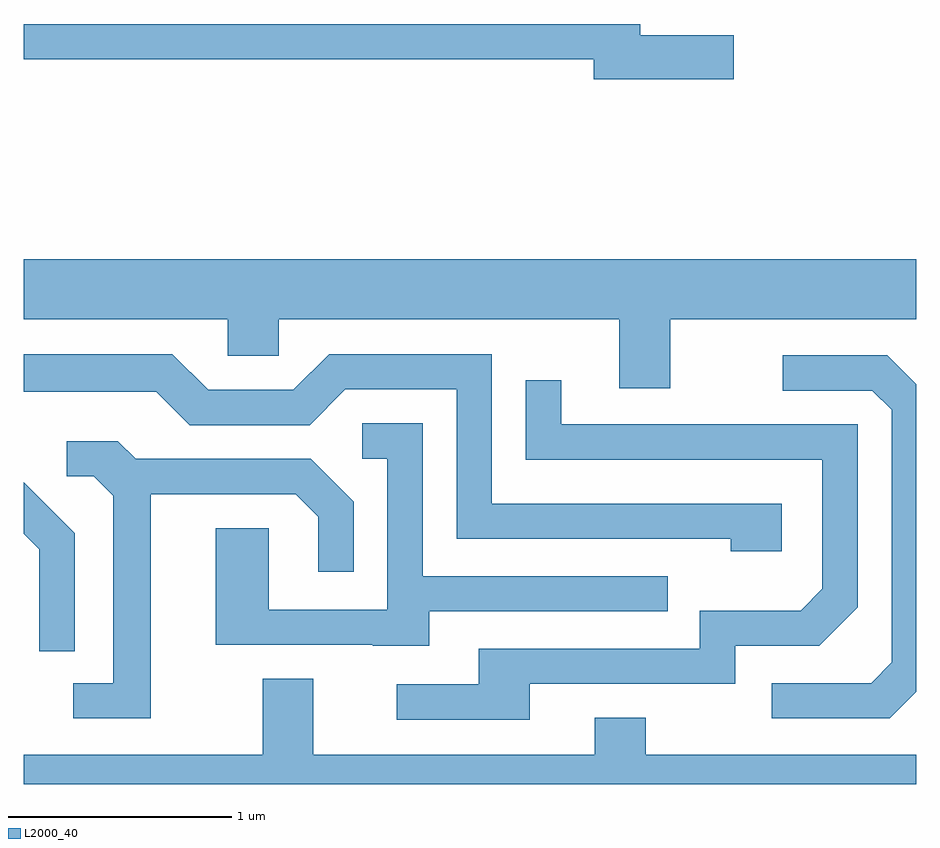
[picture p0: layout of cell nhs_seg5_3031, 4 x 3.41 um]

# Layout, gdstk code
import gdstk
lib = gdstk.Library(unit=1e-6, precision=1e-09)
def P(c, l, *ps):  # polygons
    for p in ps: c.add(gdstk.Polygon(p, *l))
L2000_40 = (2000, 40)

nhs_seg5_3031 = lib.new_cell('nhs_seg5_3031')
P(nhs_seg5_3031, L2000_40, [(278.794,1431.429),(278.374,1431.429),(278.374,1431.479),(275.611,1431.479),(275.611,1431.321),(278.166,1431.321),(278.166,1431.231),(278.794,1431.231)],
  [(278.509,1430.156),(279.611,1430.156),(279.611,1430.424),(275.611,1430.424),(275.611,1430.156),(276.526,1430.156),(276.526,1429.991),(276.754,1429.991),(276.754,1430.156),(278.281,1430.156),(278.281,1429.846),(278.509,1429.846)],
  [(279.009,1429.329),(277.709,1429.329),(277.709,1429.999),(276.979,1429.999),(276.819,1429.839),(276.437,1429.839),(276.277,1429.999),(275.611,1429.999),(275.611,1429.831),(276.204,1429.831),(276.354,1429.681),(276.892,1429.681),(277.052,1429.841),(277.551,1429.841),(277.551,1429.171),(278.781,1429.171),(278.781,1429.116),(279.009,1429.116)],
  [(279.611,1428.486),(279.611,1429.865),(279.482,1429.994),(279.013,1429.994),(279.013,1429.836),(279.414,1429.836),(279.501,1429.749),(279.501,1428.617),(279.409,1428.524),(278.963,1428.524),(278.963,1428.366),(279.492,1428.366)],
  [(277.879,1428.521),(278.799,1428.521),(278.799,1428.691),(279.177,1428.691),(279.349,1428.864),(279.349,1429.684),(278.019,1429.684),(278.019,1429.883),(277.861,1429.883),(277.861,1429.526),(279.191,1429.526),(279.191,1428.947),(279.094,1428.849),(278.641,1428.849),(278.641,1428.679),(277.651,1428.679),(277.651,1428.519),(277.283,1428.519),(277.283,1428.361),(277.879,1428.361)],
  [(277.429,1428.846),(278.498,1428.846),(278.498,1429.004),(277.399,1429.004),(277.399,1429.689),(277.128,1429.689),(277.128,1429.531),(277.241,1429.531),(277.241,1428.854),(276.709,1428.854),(276.709,1429.219),(276.471,1429.219),(276.471,1428.696),(277.175,1428.696),(277.175,1428.691),(277.429,1428.691)],
  [(276.179,1429.371),(276.829,1429.371),(276.931,1429.269),(276.931,1429.023),(277.089,1429.023),(277.089,1429.337),(276.897,1429.529),(276.112,1429.529),(276.032,1429.609),(275.803,1429.609),(275.803,1429.451),(275.924,1429.451),(276.011,1429.364),(276.011,1428.524),(275.833,1428.524),(275.833,1428.366),(276.179,1428.366)],
  [(275.839,1429.197),(275.611,1429.425),(275.611,1429.194),(275.681,1429.124),(275.681,1428.668),(275.839,1428.668)],
  [(279.611,1428.204),(278.399,1428.204),(278.399,1428.369),(278.171,1428.369),(278.171,1428.204),(276.909,1428.204),(276.909,1428.544),(276.681,1428.544),(276.681,1428.204),(275.611,1428.204),(275.611,1428.072),(279.611,1428.072)])

lib.write_gds('nhs_seg5_3031.gds')
